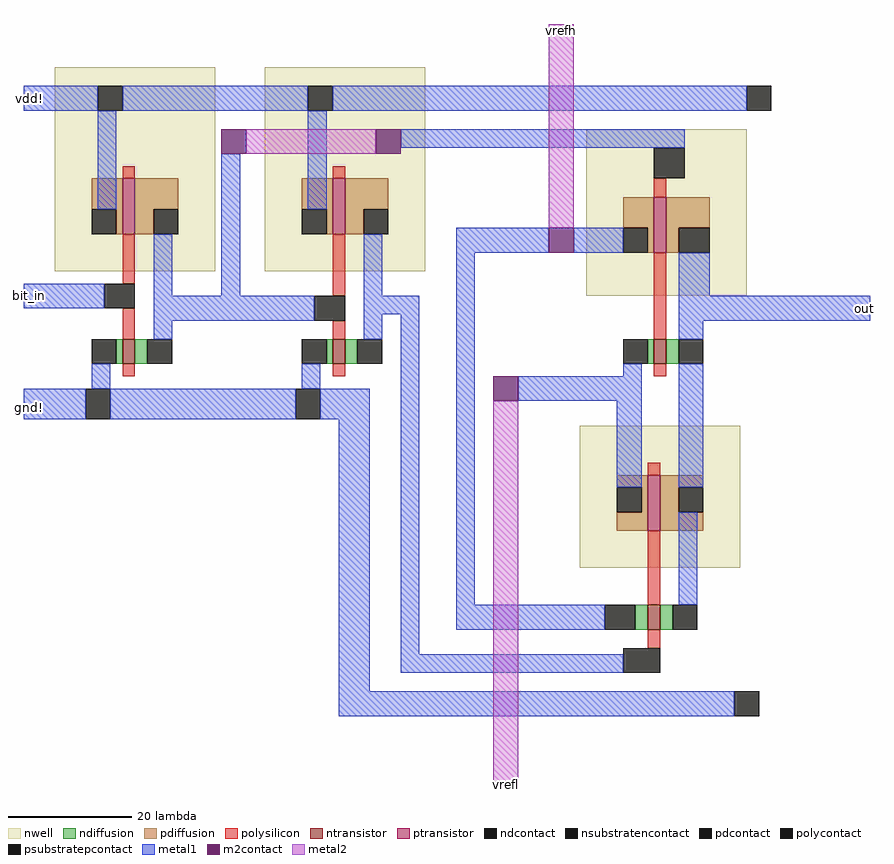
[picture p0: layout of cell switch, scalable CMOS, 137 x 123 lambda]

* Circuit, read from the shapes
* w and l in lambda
.subckt switch bit_in gnd! out vdd! vrefh vrefl
M1 n1 bit_in gnd! gnd! nfet w=4 l=2
M2 n2 n1 gnd! gnd! nfet w=4 l=2
M3 out n2 vrefh gnd! nfet w=4 l=2
M4 out n1 vrefl gnd! nfet w=4 l=2
M5 n1 bit_in vdd! vdd! pfet w=9 l=2
M6 n2 n1 vdd! vdd! pfet w=9 l=2
M7 out n2 vrefl n3 pfet w=9 l=2
M8 out n1 vrefh n4 pfet w=9 l=2
.ends

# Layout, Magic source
magic
tech scmos
<< nwell >>
rect -42 7 -16 40
rect -8 7 18 40
rect 44 3 70 30
rect 43 -41 69 -18
<< ntransistor >>
rect -31 -8 -29 -4
rect 3 -8 5 -4
rect 55 -8 57 -4
rect 54 -51 56 -47
<< ptransistor >>
rect -31 13 -29 22
rect 3 13 5 22
rect 55 10 57 19
rect 54 -35 56 -26
<< ndiffusion >>
rect -32 -8 -31 -4
rect -29 -8 -27 -4
rect 2 -8 3 -4
rect 5 -8 7 -4
rect 54 -8 55 -4
rect 57 -8 59 -4
rect 52 -51 54 -47
rect 56 -51 58 -47
<< pdiffusion >>
rect -36 17 -31 22
rect -32 13 -31 17
rect -29 17 -22 22
rect -29 13 -26 17
rect -2 17 3 22
rect 2 13 3 17
rect 5 17 12 22
rect 5 13 8 17
rect 50 14 55 19
rect 54 10 55 14
rect 57 14 64 19
rect 57 10 59 14
rect 49 -28 54 -26
rect 53 -32 54 -28
rect 49 -35 54 -32
rect 56 -28 63 -26
rect 56 -32 59 -28
rect 56 -35 63 -32
<< ndcontact >>
rect -36 -8 -32 -4
rect -27 -8 -23 -4
rect -2 -8 2 -4
rect 7 -8 11 -4
rect 50 -8 54 -4
rect 59 -8 63 -4
rect 47 -51 52 -47
rect 58 -51 62 -47
<< pdcontact >>
rect -36 13 -32 17
rect -26 13 -22 17
rect -2 13 2 17
rect 8 13 12 17
rect 50 10 54 14
rect 59 10 64 14
rect 49 -32 53 -28
rect 59 -32 63 -28
<< psubstratepcontact >>
rect -37 -17 -33 -12
rect -3 -17 1 -12
rect 68 -65 72 -61
<< nsubstratencontact >>
rect -35 33 -31 37
rect -1 33 3 37
rect 70 33 74 37
<< polysilicon >>
rect -31 22 -29 24
rect 3 22 5 24
rect 55 19 57 22
rect -31 5 -29 13
rect 3 3 5 13
rect -31 -4 -29 1
rect 3 -4 5 -1
rect 55 -4 57 10
rect -31 -10 -29 -8
rect 3 -10 5 -8
rect 55 -10 57 -8
rect 54 -26 56 -24
rect 54 -47 56 -35
rect 54 -54 56 -51
<< polycontact >>
rect 55 22 60 27
rect -34 1 -29 5
rect 0 -1 5 3
rect 50 -58 56 -54
<< metal1 >>
rect -47 33 -35 37
rect -31 33 -1 37
rect 3 33 70 37
rect -35 17 -32 33
rect -47 1 -34 5
rect -26 3 -23 13
rect -15 3 -12 26
rect -1 17 2 33
rect 14 27 60 30
rect 8 3 11 13
rect 23 10 38 14
rect 42 10 50 14
rect -26 -1 0 3
rect 8 0 17 3
rect -26 -4 -23 -1
rect 8 -4 11 0
rect -36 -12 -33 -8
rect -2 -12 1 -8
rect -47 -17 -37 -12
rect -33 -17 -3 -12
rect 1 -17 9 -12
rect 4 -61 9 -17
rect 14 -55 17 0
rect 23 -47 26 10
rect 59 3 64 10
rect 59 -1 90 3
rect 59 -4 63 -1
rect 50 -10 53 -8
rect 33 -14 53 -10
rect 49 -28 53 -14
rect 59 -28 63 -8
rect 59 -47 62 -32
rect 23 -51 47 -47
rect 14 -58 50 -55
rect 4 -65 68 -61
<< m2contact >>
rect -15 26 -11 30
rect 10 26 14 30
rect 38 10 42 14
rect 29 -14 33 -10
<< metal2 >>
rect -11 26 10 30
rect 38 14 42 47
rect 29 -76 33 -14
<< labels >>
rlabel metal2 40 46 40 46 1 vrefh
rlabel metal1 -46 3 -46 3 1 bit_in
rlabel metal1 -46 -15 -46 -15 1 gnd!
rlabel metal1 -46 35 -46 35 1 vdd!
rlabel metal2 31 -76 31 -76 1 vrefl
rlabel metal1 89 1 89 1 1 out
<< end >>
